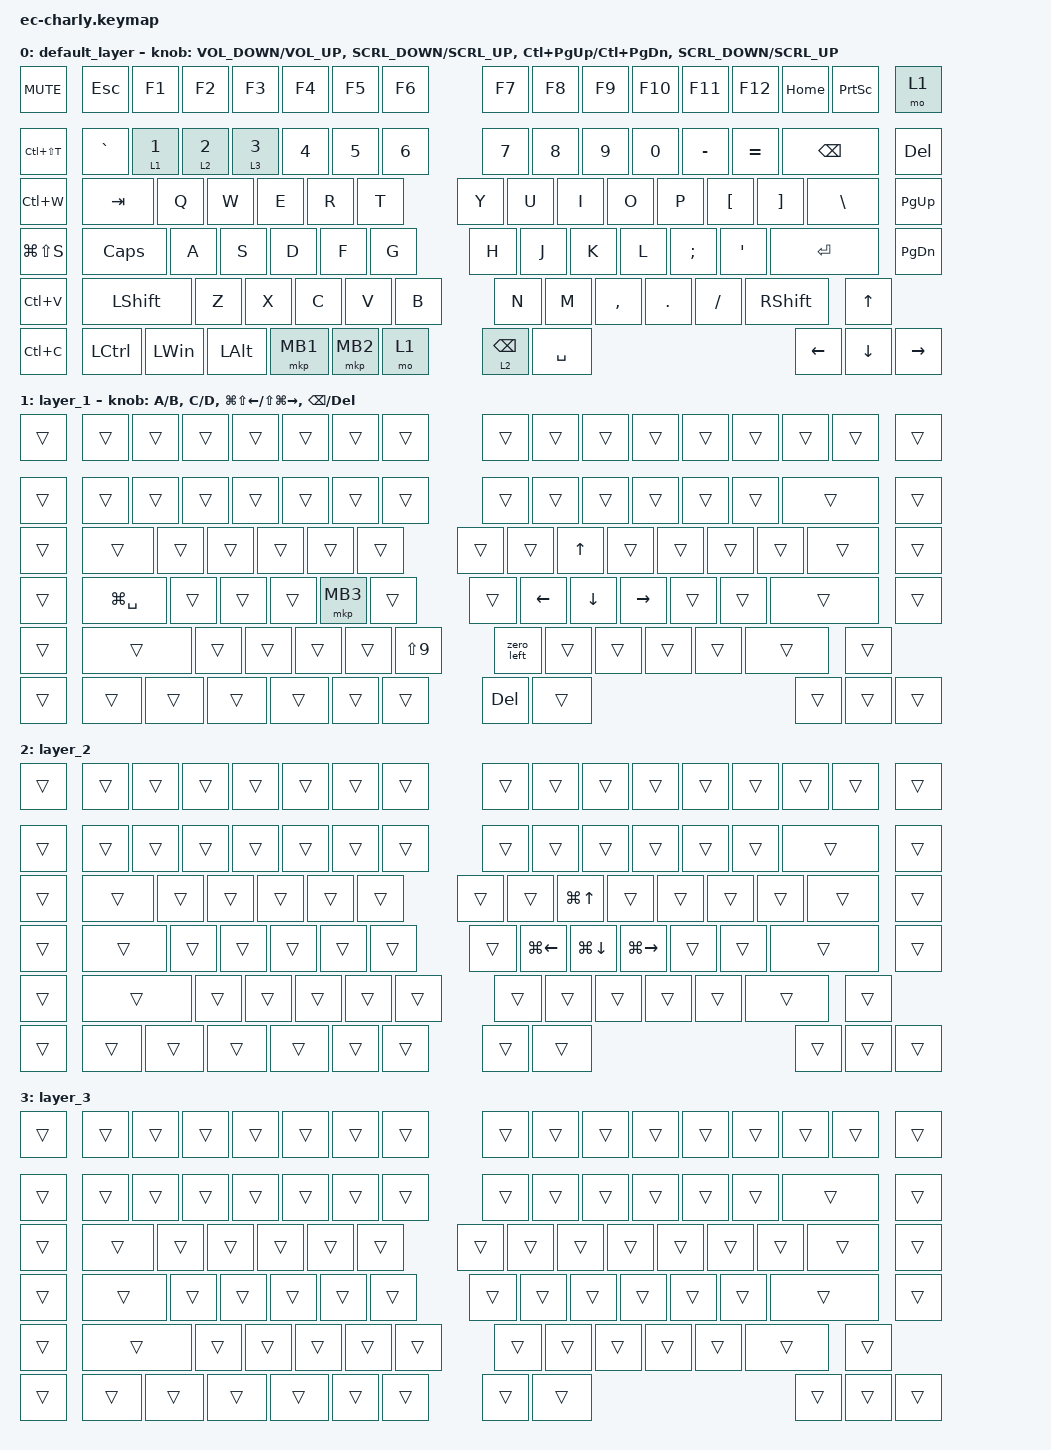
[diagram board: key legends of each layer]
#define ZMK_POINTING_DEFAULT_MOVE_VAL 800
#define ZMK_POINTING_DEFAULT_SCRL_VAL 120

#include <input/processors.dtsi>
#include <zephyr/dt-bindings/input/input-event-codes.h>
#include <dt-bindings/zmk/input_transform.h>
#include <behaviors.dtsi>
#include <dt-bindings/zmk/keys.h>
#include <dt-bindings/zmk/pointing.h>

#define SCROLL 1  // "SCROLL" をレイヤー1番として定義 (必要に応じて番号は変えてください)

&trackball_listener {
    scroller {
        layers = <SCROLL>;
        input-processors = <
                            &zip_xy_transform (INPUT_TRANSFORM_Y_INVERT)
                            &zip_xy_scaler 1 20 // スクロールの感度(default: x20)
                            &zip_xy_to_scroll_mapper
        >;
    };
};

&msc {
    delay-ms = <0>;
    trigger-period-ms = <10>;
    time-to-max-speed-ms = <0>;
    acceleration-exponent = <0>;
};

/ {
    input_processors {
        zip_wheel_scaler: zip_wheel_scaler {
            compatible = "zmk,input-processor-scaler";
            #input-processor-cells = <2>;
            type = <INPUT_EV_REL>;
            codes = <INPUT_REL_WHEEL>;
            track-remainders;
        };
    };

    behaviors {
        mouse_scrl: mouse_wheel_scrl {
            compatible = "zmk,behavior-sensor-rotate-var";
            #sensor-binding-cells = <2>;
            bindings = <&msc>, <&msc>;

            tap-ms = <10>;
        };

        mouse_click: mouse_button_kp {
            compatible = "zmk,behavior-sensor-rotate-var";
            #sensor-binding-cells = <2>;
            bindings = <&mkp>, <&mkp>;
        };
    };

    macros {
        zero_left: zero_left {
            compatible = "zmk,behavior-macro";
            #binding-cells = <0>;
            bindings = <&kp LS(N0) &kp LEFT>;
            label = "ZERO_LEFT";
            wait-ms = <0>;
            tap-ms = <0>;
        };
    };

    keymap {
        compatible = "zmk,keymap";

        default_layer {
            bindings = <
&kp C_MUTE     &kp ESCAPE      &kp F1        &kp F2        &kp F3    &kp F4        &kp F5  &kp F6           &kp F7     &kp F8     &kp F9      &kp F10          &kp F11           &kp F12            &kp HOME       &kp PRINTSCREEN  &mo 1
&kp LC(LS(T))  &kp GRAVE       &lt 1 N1      &lt 2 N2      &lt 3 N3  &kp NUMBER_4  &kp N5  &kp N6           &kp N7     &kp N8     &kp N9      &kp N0           &kp MINUS         &kp EQUAL          &kp BACKSPACE  &kp DEL
&kp LC(W)      &kp TAB         &kp Q         &kp W         &kp E     &kp R         &kp T   &kp Y            &kp U      &kp I      &kp O       &kp P            &kp LEFT_BRACKET  &kp RIGHT_BRACKET  &kp BACKSLASH  &kp PG_UP
&kp LG(LS(S))  &kp CAPSLOCK    &kp A         &kp S         &kp D     &kp F         &kp G   &kp H            &kp J      &kp K      &kp L       &kp SEMICOLON    &kp SQT           &kp ENTER          &kp PAGE_DOWN
&kp LC(V)      &kp LEFT_SHIFT  &kp Z         &kp X         &kp C     &kp V         &kp B   &kp N            &kp M      &kp COMMA  &kp PERIOD  &kp SLASH        &kp RSHIFT        &kp UP_ARROW
&kp LC(C)      &kp LCTRL       &kp LEFT_WIN  &kp LEFT_ALT  &mkp MB1  &mkp MB2      &mo 1   &lt 2 BACKSPACE  &kp SPACE  &kp LEFT   &kp DOWN    &kp RIGHT_ARROW
            >;

            sensor-bindings =
                <&inc_dec_kp C_VOLUME_DOWN C_VOLUME_UP>,
                <&mouse_scrl SCRL_DOWN SCRL_UP>,
                <&inc_dec_kp LC(PG_UP) LC(PAGE_DOWN)>,
                <&mouse_scrl SCRL_DOWN SCRL_UP>;
        };

        layer_1 {
            bindings = <
&trans  &trans         &trans  &trans  &trans  &trans    &trans      &trans      &trans    &trans        &trans     &trans  &trans  &trans  &trans  &trans  &trans
&trans  &trans         &trans  &trans  &trans  &trans    &trans      &trans      &trans    &trans        &trans     &trans  &trans  &trans  &trans  &trans
&trans  &trans         &trans  &trans  &trans  &trans    &trans      &trans      &trans    &kp UP_ARROW  &trans     &trans  &trans  &trans  &trans  &trans
&trans  &kp LG(SPACE)  &trans  &trans  &trans  &mkp MB3  &trans      &trans      &kp LEFT  &kp DOWN      &kp RIGHT  &trans  &trans  &trans  &trans
&trans  &trans         &trans  &trans  &trans  &trans    &kp LS(N9)  &zero_left  &trans    &trans        &trans     &trans  &trans  &trans
&trans  &trans         &trans  &trans  &trans  &trans    &trans      &kp DEL     &trans    &trans        &trans     &trans
            >;

            sensor-bindings =
                <&inc_dec_kp A B>,
                <&inc_dec_kp C D>,
                <&inc_dec_kp LG(LS(LEFT)) LS(LG(RIGHT))>,
                <&inc_dec_kp BACKSPACE DEL>;
        };

        layer_2 {
            bindings = <
&trans  &trans  &trans  &trans  &trans  &trans  &trans  &trans  &trans        &trans            &trans         &trans  &trans  &trans  &trans  &trans  &trans
&trans  &trans  &trans  &trans  &trans  &trans  &trans  &trans  &trans        &trans            &trans         &trans  &trans  &trans  &trans  &trans
&trans  &trans  &trans  &trans  &trans  &trans  &trans  &trans  &trans        &kp LG(UP_ARROW)  &trans         &trans  &trans  &trans  &trans  &trans
&trans  &trans  &trans  &trans  &trans  &trans  &trans  &trans  &kp LG(LEFT)  &kp LG(DOWN)      &kp LG(RIGHT)  &trans  &trans  &trans  &trans
&trans  &trans  &trans  &trans  &trans  &trans  &trans  &trans  &trans        &trans            &trans         &trans  &trans  &trans
&trans  &trans  &trans  &trans  &trans  &trans  &trans  &trans  &trans        &trans            &trans         &trans
            >;
        };

        layer_3 {
            bindings = <
&trans  &trans  &trans  &trans  &trans  &trans  &trans  &trans  &trans  &trans  &trans  &trans  &trans  &trans  &trans  &trans  &trans
&trans  &trans  &trans  &trans  &trans  &trans  &trans  &trans  &trans  &trans  &trans  &trans  &trans  &trans  &trans  &trans
&trans  &trans  &trans  &trans  &trans  &trans  &trans  &trans  &trans  &trans  &trans  &trans  &trans  &trans  &trans  &trans
&trans  &trans  &trans  &trans  &trans  &trans  &trans  &trans  &trans  &trans  &trans  &trans  &trans  &trans  &trans
&trans  &trans  &trans  &trans  &trans  &trans  &trans  &trans  &trans  &trans  &trans  &trans  &trans  &trans
&trans  &trans  &trans  &trans  &trans  &trans  &trans  &trans  &trans  &trans  &trans  &trans
            >;
        };
    };
};
